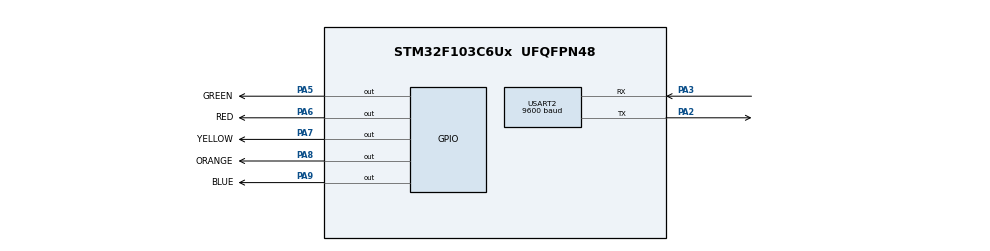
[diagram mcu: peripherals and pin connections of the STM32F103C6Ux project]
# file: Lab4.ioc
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Mcu.Family=STM32F1
Mcu.Name=STM32F103C6Ux
Mcu.Package=UFQFPN48
NVIC.PriorityGroup=NVIC_PRIORITYGROUP_4
NVIC.TIM2_IRQn=true\:0\:0\:false\:false\:true\:true\:true
NVIC.USART2_IRQn=true\:0\:0\:false\:false\:true\:true\:true
PA2.Mode=Asynchronous
PA2.Signal=USART2_TX
PA3.Mode=Asynchronous
PA3.Signal=USART2_RX
PA5.GPIO_Label=GREEN
PA5.PinState=GPIO_PIN_SET
PA5.Signal=GPIO_Output
PA6.GPIO_Label=RED
PA6.PinState=GPIO_PIN_SET
PA6.Signal=GPIO_Output
PA7.GPIO_Label=YELLOW
PA7.PinState=GPIO_PIN_SET
PA7.Signal=GPIO_Output
PA8.GPIO_Label=ORANGE
PA8.PinState=GPIO_PIN_SET
PA8.Signal=GPIO_Output
PA9.GPIO_Label=BLUE
PA9.PinState=GPIO_PIN_SET
PA9.Signal=GPIO_Output
ProjectManager.HeapSize=0x200
ProjectManager.StackSize=0x400
ProjectManager.TargetToolchain=STM32CubeIDE
RCC.APB1Freq_Value=8000000
RCC.APB2Freq_Value=8000000
RCC.SYSCLKSource=RCC_SYSCLKSOURCE_PLLCLK
TIM2.Period=9
TIM2.Prescaler=7999
USART2.BaudRate=9600
USART2.VirtualMode=VM_ASYNC
VP_SYS_VS_ND.Mode=No_Debug
VP_TIM2_VS_ClockSourceINT.Mode=Internal
board=custom

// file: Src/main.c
/* USER CODE BEGIN Header */
/**
  ******************************************************************************
  * @file           : main.c
  * @brief          : Main program body
  ******************************************************************************
  * @attention
  *
  * <h2><center>&copy; Copyright (c) 2022 STMicroelectronics.
  * All rights reserved.</center></h2>
  *
  * This software component is licensed by ST under BSD 3-Clause license,
  * the "License"; You may not use this file except in compliance with the
  * License. You may obtain a copy of the License at:
  *                        opensource.org/licenses/BSD-3-Clause
  *
  ******************************************************************************
  */
/* USER CODE END Header */
#include "main.h"

/* USER CODE BEGIN Includes */
#include "scheduler.h"
#include "software_timer.h"
#include "string.h"
#include "stdio.h"
/* USER CODE END Includes */

TIM_HandleTypeDef htim2;

UART_HandleTypeDef huart2;

void SystemClock_Config(void);
static void MX_GPIO_Init(void);
static void MX_TIM2_Init(void);
static void MX_USART2_UART_Init(void);

/* USER CODE BEGIN 0 */
char buffer_time[3];
  char red_call[] = " : Toggle red\r";
  char yellow_call[] = " : Toggle yellow\r";
  char green_call[] = " : Toggle green\r";
  char blue_call[] = " : Toggle blue\r";
  char orange_call[] = " : Toggle orange\r";
  void red()
  {
  	HAL_GPIO_TogglePin(GPIOA, RED_Pin);
  	sprintf(buffer_time, "%d",real_time);
  	HAL_UART_Transmit(&huart2, (uint8_t*)buffer_time,strlen(buffer_time) , 1000);
  	HAL_UART_Transmit(&huart2, (uint8_t*)red_call, sizeof(red_call), 2000);
  }

  void yellow()
  {
  	HAL_GPIO_TogglePin(GPIOA, YELLOW_Pin);
  	sprintf(buffer_time, "%d",real_time);
  	HAL_UART_Transmit(&huart2, (uint8_t*)buffer_time,strlen(buffer_time) , 1000);
  	HAL_UART_Transmit(&huart2, (uint8_t*)yellow_call, sizeof(yellow_call), 2000);
  }

  void green()
  {
  	HAL_GPIO_TogglePin(GPIOA, GREEN_Pin);
  	sprintf(buffer_time, "%d",real_time);
  	HAL_UART_Transmit(&huart2, (uint8_t*)buffer_time,strlen(buffer_time) , 1000);
  	HAL_UART_Transmit(&huart2, (uint8_t*)green_call, sizeof(green_call), 2000);
  }

  void blue()
  {
  	HAL_GPIO_TogglePin(GPIOA, BLUE_Pin);
  	sprintf(buffer_time, "%d",real_time);
  	HAL_UART_Transmit(&huart2, (uint8_t*)buffer_time,strlen(buffer_time) , 1000);
  	HAL_UART_Transmit(&huart2, (uint8_t*)blue_call, sizeof(blue_call), 2000);
  }

  void orange()
  {
  	HAL_GPIO_TogglePin(GPIOA, ORANGE_Pin);
  	sprintf(buffer_time, "%d",real_time);
  	HAL_UART_Transmit(&huart2, (uint8_t*)buffer_time,strlen(buffer_time) , 1000);
  	HAL_UART_Transmit(&huart2, (uint8_t*)orange_call, sizeof(orange_call), 2000);
  }
/* USER CODE END 0 */

int main(void)
{

  /* MCU Configuration--------------------------------------------------------*/

  /* Reset of all peripherals, Initializes the Flash interface and the Systick. */
  HAL_Init();

  /* Configure the system clock */
  SystemClock_Config();

  /* Initialize all configured peripherals */
  MX_GPIO_Init();
  MX_TIM2_Init();
  MX_USART2_UART_Init();
  /* USER CODE BEGIN 2 */
  SCH_Add_Task(red,1000,1000);
   SCH_Add_Task(yellow,1000,1000);
   SCH_Add_Task(green,1000,1000);
   SCH_Add_Task(blue,1000,1000);
   SCH_Add_Task(orange,3000,0);
  HAL_TIM_Base_Start_IT(&htim2);

  /* USER CODE END 2 */

  /* Infinite loop */
  /* USER CODE BEGIN WHILE */

  while (1)
  {
	  SCH_Dispatch_Tasks();

    /* USER CODE END WHILE */

  }
}

void SystemClock_Config(void)
{
  RCC_OscInitTypeDef RCC_OscInitStruct = {0};
  RCC_ClkInitTypeDef RCC_ClkInitStruct = {0};

  /** Initializes the RCC Oscillators according to the specified parameters
  * in the RCC_OscInitTypeDef structure.
  */
  RCC_OscInitStruct.OscillatorType = RCC_OSCILLATORTYPE_HSI;
  RCC_OscInitStruct.HSIState = RCC_HSI_ON;
  RCC_OscInitStruct.HSICalibrationValue = RCC_HSICALIBRATION_DEFAULT;
  RCC_OscInitStruct.PLL.PLLState = RCC_PLL_ON;
  RCC_OscInitStruct.PLL.PLLSource = RCC_PLLSOURCE_HSI_DIV2;
  RCC_OscInitStruct.PLL.PLLMUL = RCC_PLL_MUL2;
  if (HAL_RCC_OscConfig(&RCC_OscInitStruct) != HAL_OK)
  {
    Error_Handler();
  }
  /** Initializes the CPU, AHB and APB buses clocks
  */
  RCC_ClkInitStruct.ClockType = RCC_CLOCKTYPE_HCLK|RCC_CLOCKTYPE_SYSCLK
                              |RCC_CLOCKTYPE_PCLK1|RCC_CLOCKTYPE_PCLK2;
  RCC_ClkInitStruct.SYSCLKSource = RCC_SYSCLKSOURCE_PLLCLK;
  RCC_ClkInitStruct.AHBCLKDivider = RCC_SYSCLK_DIV1;
  RCC_ClkInitStruct.APB1CLKDivider = RCC_HCLK_DIV1;
  RCC_ClkInitStruct.APB2CLKDivider = RCC_HCLK_DIV1;

  if (HAL_RCC_ClockConfig(&RCC_ClkInitStruct, FLASH_LATENCY_0) != HAL_OK)
  {
    Error_Handler();
  }
}

static void MX_TIM2_Init(void)
{

  TIM_ClockConfigTypeDef sClockSourceConfig = {0};
  TIM_MasterConfigTypeDef sMasterConfig = {0};

  htim2.Instance = TIM2;
  htim2.Init.Prescaler = 7999;
  htim2.Init.CounterMode = TIM_COUNTERMODE_UP;
  htim2.Init.Period = 9;
  htim2.Init.ClockDivision = TIM_CLOCKDIVISION_DIV1;
  htim2.Init.AutoReloadPreload = TIM_AUTORELOAD_PRELOAD_DISABLE;
  if (HAL_TIM_Base_Init(&htim2) != HAL_OK)
  {
    Error_Handler();
  }
  sClockSourceConfig.ClockSource = TIM_CLOCKSOURCE_INTERNAL;
  if (HAL_TIM_ConfigClockSource(&htim2, &sClockSourceConfig) != HAL_OK)
  {
    Error_Handler();
  }
  sMasterConfig.MasterOutputTrigger = TIM_TRGO_RESET;
  sMasterConfig.MasterSlaveMode = TIM_MASTERSLAVEMODE_DISABLE;
  if (HAL_TIMEx_MasterConfigSynchronization(&htim2, &sMasterConfig) != HAL_OK)
  {
    Error_Handler();
  }

}

static void MX_USART2_UART_Init(void)
{

  huart2.Instance = USART2;
  huart2.Init.BaudRate = 9600;
  huart2.Init.WordLength = UART_WORDLENGTH_8B;
  huart2.Init.StopBits = UART_STOPBITS_1;
  huart2.Init.Parity = UART_PARITY_NONE;
  huart2.Init.Mode = UART_MODE_TX_RX;
  huart2.Init.HwFlowCtl = UART_HWCONTROL_NONE;
  huart2.Init.OverSampling = UART_OVERSAMPLING_16;
  if (HAL_UART_Init(&huart2) != HAL_OK)
  {
    Error_Handler();
  }

}

static void MX_GPIO_Init(void)
{
  GPIO_InitTypeDef GPIO_InitStruct = {0};

  /* GPIO Ports Clock Enable */
  __HAL_RCC_GPIOA_CLK_ENABLE();

  /*Configure GPIO pin Output Level */
  HAL_GPIO_WritePin(GPIOA, GREEN_Pin|RED_Pin|YELLOW_Pin|ORANGE_Pin
                          |BLUE_Pin, GPIO_PIN_SET);

  /*Configure GPIO pins : GREEN_Pin RED_Pin YELLOW_Pin ORANGE_Pin
                           BLUE_Pin */
  GPIO_InitStruct.Pin = GREEN_Pin|RED_Pin|YELLOW_Pin|ORANGE_Pin
                          |BLUE_Pin;
  GPIO_InitStruct.Mode = GPIO_MODE_OUTPUT_PP;
  GPIO_InitStruct.Pull = GPIO_NOPULL;
  GPIO_InitStruct.Speed = GPIO_SPEED_FREQ_LOW;
  HAL_GPIO_Init(GPIOA, &GPIO_InitStruct);

}

void Error_Handler(void)
{
  __disable_irq();
  while (1)
  {
  }
}

/************************ (C) COPYRIGHT STMicroelectronics *****END OF FILE****/
